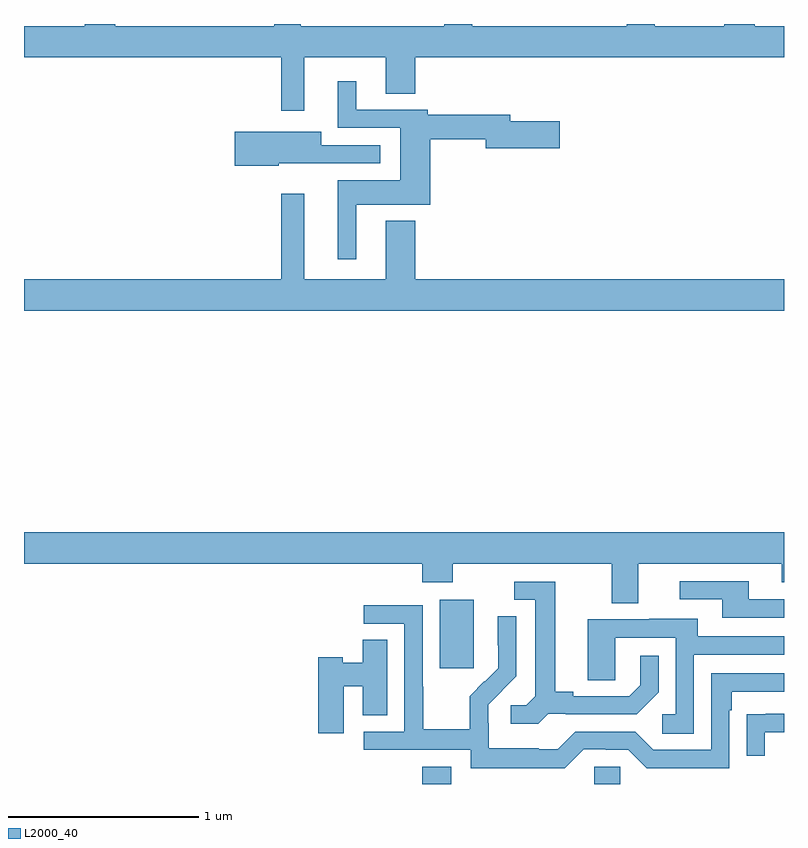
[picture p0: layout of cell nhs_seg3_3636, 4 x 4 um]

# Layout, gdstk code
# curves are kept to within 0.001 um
import gdstk
lib = gdstk.Library(unit=1e-6, precision=1e-09)
def R(c, l, rs):  # rectangles x0, y0, x1, y1
    for r in rs: c.add(gdstk.rectangle(r[:2], r[2:], *l))
def P(c, l, *ps):  # polygons
    for p in ps: c.add(gdstk.Polygon(p, *l))
L2000_40 = (2000, 40)

nhs_seg3_3636 = lib.new_cell('nhs_seg3_3636')
R(nhs_seg3_3636, L2000_40, [(301.097,722.4,301.249,722.491), (302.001,722.4,302.139,722.49), (301.187,723.009,301.366,723.37)])
P(nhs_seg3_3636, L2000_40, [(300.475,726.224),(300.905,726.224),(300.905,726.034),(301.058,726.034),(301.058,726.224),(303,726.224),(303,726.388),(302.846,726.388),(302.846,726.4),(302.686,726.4),(302.686,726.388),(302.319,726.388),(302.319,726.4),(302.172,726.4),(302.172,726.388),(301.359,726.388),(301.359,726.4),(301.211,726.4),(301.211,726.388),(300.457,726.388),(300.457,726.4),(300.317,726.4),(300.317,726.388),(299.481,726.388),(299.481,726.4),(299.321,726.4),(299.321,726.388),(299,726.388),(299,726.224),(300.354,726.224),(300.354,725.943),(300.475,725.943)],
  [(300.748,725.45),(301.139,725.45),(301.139,725.794),(301.43,725.794),(301.43,725.747),(301.819,725.747),(301.819,725.889),(301.558,725.889),(301.558,725.923),(301.126,725.923),(301.126,725.949),(300.748,725.949),(300.748,726.1),(300.65,726.1),(300.65,725.853),(300.98,725.853),(300.98,725.578),(300.65,725.578),(300.65,725.163),(300.748,725.163)],
  [(300.342,725.666),(300.561,725.666),(300.561,725.667),(300.874,725.667),(300.874,725.763),(300.565,725.763),(300.565,725.832),(300.108,725.832),(300.108,725.654),(300.342,725.654)],
  [(303,725.056),(301.058,725.056),(301.058,725.365),(300.905,725.365),(300.905,725.056),(300.475,725.056),(300.475,725.506),(300.354,725.506),(300.354,725.056),(299,725.056),(299,724.892),(303,724.892)],
  [(302.233,723.56),(302.987,723.56),(302.987,723.461),(303,723.461),(303,723.724),(299,723.724),(299,723.56),(301.097,723.56),(301.097,723.461),(301.257,723.461),(301.257,723.56),(302.093,723.56),(302.093,723.352),(302.233,723.352)],
  [(303,723.372),(302.815,723.372),(302.815,723.468),(302.451,723.468),(302.451,723.372),(302.675,723.372),(302.675,723.276),(303,723.276)],
  [(301.758,722.769),(301.852,722.769),(301.852,722.766),(302.224,722.766),(302.34,722.882),(302.34,723.076),(302.243,723.076),(302.243,722.919),(302.186,722.862),(301.891,722.862),(301.891,722.885),(301.795,722.885),(301.795,723.465),(301.581,723.465),(301.581,723.369),(301.691,723.369),(301.691,722.861),(301.644,722.814),(301.563,722.814),(301.563,722.717),(301.706,722.717)],
  [(301.947,722.583),(302.063,722.583),(302.063,722.58),(302.181,722.58),(302.277,722.484),(302.712,722.484),(302.712,722.789),(302.725,722.789),(302.725,722.886),(303,722.886),(303,722.982),(302.616,722.982),(302.616,722.58),(302.313,722.58),(302.217,722.676),(301.902,722.676),(301.809,722.583),(301.709,722.583),(301.709,722.587),(301.446,722.587),(301.446,722.721),(301.444,722.721),(301.444,722.818),(301.59,722.966),(301.59,723.284),(301.494,723.284),(301.494,723.13),(301.496,723.13),(301.496,723.008),(301.425,722.937),(301.422,722.94),(301.345,722.863),(301.345,722.689),(301.101,722.689),(301.101,722.912),(301.098,722.912),(301.098,723.342),(300.789,723.342),(300.789,723.243),(301.002,723.243),(301.002,722.676),(300.789,722.676),(300.789,722.58),(301.35,722.58),(301.35,722.483),(301.847,722.483)],
  [(302.526,723.081),(303,723.081),(303,723.177),(302.545,723.177),(302.545,723.271),(302.291,723.271),(302.291,723.267),(301.967,723.267),(301.967,722.947),(302.112,722.947),(302.112,723.171),(302.43,723.171),(302.43,722.766),(302.358,722.766),(302.358,722.665),(302.526,722.665)],
  [(300.682,722.915),(300.782,722.915),(300.782,722.761),(300.913,722.761),(300.913,723.158),(300.782,723.158),(300.782,723.037),(300.678,723.037),(300.678,723.068),(300.548,723.068),(300.548,722.667),(300.682,722.667)],
  [(302.899,722.673),(303,722.673),(303,722.769),(302.905,722.769),(302.905,722.768),(302.803,722.768),(302.803,722.55),(302.899,722.55)])

lib.write_gds('nhs_seg3_3636.gds')
